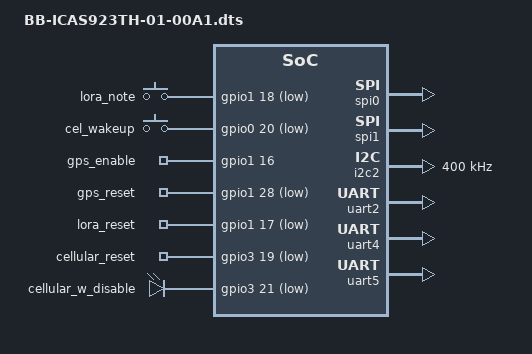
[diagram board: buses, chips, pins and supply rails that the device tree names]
/*
* Copyright (C) 2018 Anol Paisal <info@emone.co.th>
*
* This program is free software; you can redistribute it and/or modify
* it under the terms of the GNU General Public License version 2 as
* published by the Free Software Foundation.
*/

/dts-v1/;
/plugin/;

#include <dt-bindings/board/am335x-bbw-bbb-base.h>
#include <dt-bindings/gpio/gpio.h>
#include <dt-bindings/pinctrl/am33xx.h>
#include <dt-bindings/interrupt-controller/irq.h>

/ {
	compatible = "ti,beaglebone", "ti,beaglebone-black";

	/* identification */
	part-number = "BB-ICAS923TH-01";
	version = "00A1";

	/* state the resources this cape uses */
	exclusive-use =
		/* the pin header uses */
		"P8.37",	/* uart5_txd iC980A_GPS_RX pin 48*/
		"P8.38",	/* uart5_rxd iC980A_GPS_TX pin 49*/
		
		"P9.11",	/* uart4_rxd_mux2 CEL_TX pin 28*/
		"P9.13",	/* uart4_txd_mux2 CEL_RX pin 29*/
		
		"P9.24",	/* uart1_txd BBB_PI_TX*/
		"P9.26",	/* uart1_rxd BBB_PI_RX*/
		
		"P9.21",	/* spi0_d0 HOST_MISO*/
		"P9.18",	/* spi0_d1 HOST_MOSI*/
		"P9.22",	/* spi0_sclk HOST_SCK*/
		"P9.17",	/* spi0_cs0 HOST_CS$3*/
		
		"P9.29",	/* spi1_d0 SPI1_MISO*/
		"P9.30",	/* spi1_d1 SPI1_MOSI*/
		"P9.31",	/* spi1_sclk SPI1_SCK*/
        "P9.28",	/* gpio3_17 spi1_cs0 SPI1_NSS$10*/
		"P9.42",	/* gpio0_7 spi1_cs1 SPI1_NSS$5*/

		"P9.19",	/* i2c2_scl HOST_SCL*/
		"P9.20",	/* i2c2_sda HOST_SDA*/
		
		"P9.23",	/* gpio1_17 iC980A_RST$2*/
		"P9.25",	/* gpio3_21 CEL_W_DIS$9*/
		"P9.27",	/* gpio3_19 CEL_NRST$6*/
		"P9.41",	/* gpio0_20 CEL_WAKE$4*/
		"P9.12",	/* gpio1_28 GPS_RST$1*/
		"P9.14",	/* gpio1_18 LR_NOTE$7*/
		"P9.15",	/* gpio1_16 EN_GPS$ 8*/
		
		/* the hardware ip uses */
		"uart5",
		"uart4",
		"uart1",
		
		"spi0",
		"gpio0_5",	
		
		"spi1",
		"gpio0_7",
		"gpio3_17",
		
		"i2c2",
		
		"gpio1_17",	
		"gpio3_21",
		"gpio3_19",
		"gpio0_20",
		"gpio1_18",
		"gpio1_28",
		"gpio1_16";
	
	/*
	 * Helper to show loaded overlays under: /proc/device-tree/chosen/overlays/
	 */
	fragment@0 {
		target-path="/";
		__overlay__ {

			chosen {
				overlays {
					BB-ICAS923TH-01 = __TIMESTAMP__;
				};
			};
		};
	};	
	
	/*
	 * Free up the pins used by the mikrobus port from the pinmux helpers.
	 * pins are listed in clockwise order of their appearance in the
	 * mikrobus port.
	 */
	fragment@1 {
		target = <&ocp>;
		__overlay__ {			

			P8_37_pinmux { status = "disabled"; };
			P8_38_pinmux { status = "disabled"; };
			P9_13_pinmux { status = "disabled"; };
			P9_11_pinmux { status = "disabled"; };
			P9_24_pinmux { status = "disabled"; };
			P9_26_pinmux { status = "disabled"; };
			P9_21_pinmux { status = "disabled"; };
			P9_22_pinmux { status = "disabled"; };
			P9_17_pinmux { status = "disabled"; };
			P9_18_pinmux { status = "disabled"; };
			P9_28_pinmux { status = "disabled"; };
			P9_29_pinmux { status = "disabled"; };
			P9_30_pinmux { status = "disabled"; };
			P9_31_pinmux { status = "disabled"; };
			P9_42_pinmux { status = "disabled"; };
			P9_19_pinmux { status = "disabled"; };
			P9_20_pinmux { status = "disabled"; };
			P9_23_pinmux { status = "disabled"; };
			P9_25_pinmux { status = "disabled"; };
			P9_27_pinmux { status = "disabled"; };
			P9_41_pinmux { status = "disabled"; };
			P9_12_pinmux { status = "disabled"; };
			P9_14_pinmux { status = "disabled"; };
			P9_15_pinmux { status = "disabled"; };
		};
	};
	
	fragment@2 {
		target = <&am33xx_pinmux>;

		__overlay__ {
		
			/* avoid stupid warning */
        	#address-cells = <1>;
	        #size-cells = <1>;

			bb_spi0_pins: pinmux_bb_spi0_pins {
				pinctrl-single,pins = <
					BONE_P9_22 0x30 /* AM33XX_PADCONF(AM335X_PIN_SPI0_SCLK, PIN_OUTPUT, MUX_MODE0)	P9.22 spi0_sclk, INPUT_PULLUP | MODE0 */
					BONE_P9_21 0x30 /* AM33XX_PADCONF(AM335X_PIN_SPI0_D0, PIN_INPUT, MUX_MODE0)	P9.21 spi0_d0, INPUT_PULLUP | MODE0 */
					BONE_P9_18 0x10 /* AM33XX_PADCONF(AM335X_PIN_SPI0_D1, PIN_OUTPUT, MUX_MODE0)	P9.18 spi0_d1, OUTPUT_PULLUP | MODE0 */
					BONE_P9_17 0x10 /* AM33XX_PADCONF(AM335X_PIN_SPI0_CS0, PIN_OUTPUT, MUX_MODE0) P9.17 spi0_cs0, OUTPUT_PULLUP gpio0_5 | MODE0 */
				>;
			};
			
			bb_spi1_pins: pinmux_bb_spi1_pins {
				pinctrl-single,pins = <
					BONE_P9_31 0x33	/* P9.31 mcasp0_aclkx.spi1_sclk, INPUT_PULLUP | MODE3 */
					BONE_P9_29 0x33	/* P9.29 mcasp0_fsx.spi1_d0, INPUT_PULLUP | MODE3 */
					BONE_P9_30 0x13	/* P9.30 mcasp0_axr0.spi1_d1, OUTPUT_PULLUP | MODE3 */
					BONE_P9_28 0x13  /* P9.28 mcasp0_ahclkr.spi1_cs0, OUTPUT_PULLUP gpio3_17 | MODE3 */
					BONE_P9_42 0x12	/* P9.42 eCAP0_in_PWM0_out.spi1_cs1 OUTPUT_PULLUP gpio0_7 | MODE2 */
				>;
			};
			
			bb_i2c2_pins: pinmux_bb_i2c2_pins {
				pinctrl-single,pins = <
					BONE_P9_19 0x73	/* P9.19 uart1_rtsn.i2c2_scl, SLEWCTRL_SLOW | INPUT_PULLUP | MODE3 */
					BONE_P9_20 0x73	/* P9.20 uart1_ctsn.i2c2_sda, SLEWCTRL_SLOW | INPUT_PULLUP | MODE3 */
				>;
			};
			
			bb_uart1_pins: pinmux_bb_uart1_pins {
				pinctrl-single,pins = <
					BONE_P9_26 0x08 /* (PIN_INPUT_PULLUP | MUX_MODE0)	P9.26 uart1_rxd | MODE0 INPUT */
					BONE_P9_24 0x28 /* (PIN_OUTPUT_PULLDOWN | MUX_MODE0) P9.24 uart1_txd | MODE0 OUTPUT */
				>;
			};
			
			bb_uart4_pins: pinmux_bb_uart4_pins {
				pinctrl-single,pins = <
					BONE_P9_11 0x0E /* (PIN_INPUT_PULLUP | MUX_MODE6) P9.11 gpmc_wait0.uart4_rxd | MODE6 INPUT */
					BONE_P9_13 0x2E /* (PIN_OUTPUT_PULLDOWN | MUX_MODE6) P9.13 gpmc_wpn.uart4_txd | MODE6 OUTPUT */
				>;
			};
			
			bb_uart5_pins: pinmux_bb_uart5_pins {
				pinctrl-single,pins = <
					BONE_P8_38 0x0C /* (PIN_INPUT_PULLUP | MUX_MODE4) P8.38 lcd_data9.uart5_rxd | MODE4 INPUT */
					BONE_P8_37 0x2C /* (PIN_OUTPUT_PULLDOWN | MUX_MODE4) P8.37 lcd_data8.uart5_txd | MODE4 OUTPUT */
				>;
			};
			
			lgw_control_pins: pinmux_lgw_control_pins {
				pinctrl-single,pins = <
					BONE_P9_15 0x27	/* EN_GPS P9.15 gpmc_a0.gpio1_16, OUTPUT_PULLDOWN  | MODE7 gpio1_16 pin 16 */
			
					BONE_P9_12 0x37	/* GPS_NRST P9.12 gpmc_be1n.gpio1_28, OUTPUT_PULLUP | MODE7 gpio1_28 pin 30*/
				
					BONE_P9_23 0x27	/* iC980A_RST P9.23 gpmc_a1.gpio1_17, OUTPUT_PULLDOWN | MODE7 gpio1_17 pin 17 */
				
					BONE_P9_27 0x37 /* CEL_NRST P9.27 mcasp0_fsr.gpio3_19, OUTPUT_PULLUP | MODE7 gpio3_19 pin 105*/
				
					BONE_P9_25 0x37 /* CEL_W_DIS P9.25 mcasp0_ahclkx.gpio3_21, OUTPUT_PULLDOWN | MODE7 gpio3_21 pin 107*/
				>;
			};
			
			lgw_input_pins: pinmux_lgw_input_pins {
				pinctrl-single,pins = <
					BONE_P9_14 0x0F /* LR_NOTE P9.14 gpmc_a2.gpio1_18, INPUT | MODE7 gpio1_18 pin 18*/
				
					BONE_P9_41 0x17	/* CEL_WAKE P9.41 xdma_event_intr1.gpio0_20, INPUT_PULLUP | MODE7 gpio0_20 pin 109*/
				>;
			};
		};
	};

	fragment@3 {
		target = <&spi0>;	/* spi0 is numbered correctly */
		__overlay__ {
			status = "okay";
			pinctrl-names = "default";
			pinctrl-0 = <&bb_spi0_pins>;
			cs-gpios	= <&gpio0 5 0>;
			num-chipselects = <1>;
			
			#address-cells = <1>;
			#size-cells = <0>;

			/*
			 * Select the D0 pin as output and D1 as
			 * input. The default is D0 as input and
			 * D1 as output.
			 */
			//ti,pindir-d0-out-d1-in;
			
			/* add any spi devices connected here */
			/* note that you can do direct SPI via spidev now */
            channel@0 {
				#address-cells = <1>;
				#size-cells = <0>;

				compatible = "linux,spidev";
				symlink = "spi/0.0";

				reg = <0>;
				spi-max-frequency = <16000000>;
				spi-cpha;
			};

			channel@1 {
				status = "disabled";
			};
		};
	};
	
	fragment@4 {
		target = <&spi1>;	/* spi1 is numbered correctly */
		__overlay__ {
			status = "okay";
			pinctrl-names = "default";
			pinctrl-0 = <&bb_spi1_pins>;
			cs-gpios	= <&gpio3 17 0
						   &gpio0 7 0>;
			num-chipselects = <2>;
			
			#address-cells = <1>;
			#size-cells = <0>;

			/*
			 * Select the D0 pin as output and D1 as
			 * input. The default is D0 as input and
			 * D1 as output.
			 */
			//ti,pindir-d0-out-d1-in;
			
			ti,pio-mode; /* disable dma when used as an overlay, dma gets stuck at 160 bits... */
			
			/* add any spi devices connected here */
			/* note that you can do direct SPI via spidev now */
            channel@0 {
                #address-cells = <1>;
                #size-cells = <0>;
				
                compatible = "linux,spidev";
				symlink = "spi/1.0";
				
                reg = <0>;
                spi-max-frequency = <16000000>;
            };
			
			channel@1 {
				#address-cells = <1>;
				#size-cells = <0>;

				compatible = "spidev";
				symlink = "spi/1.1";

				reg = <1>;
				spi-max-frequency = <16000000>;
                spi-cpha;
			};
		};
	};
		
	fragment@5 {
		target = <&i2c2>;	/* i2c2 is numbered correctly */
		__overlay__ {
			status = "okay";
			pinctrl-names = "default";
			pinctrl-0 = <&bb_i2c2_pins>;

			/* this is the configuration part */
			clock-frequency = <400000>;	

			#address-cells = <1>;
			#size-cells = <0>;

			/* add any i2c devices on the bus here */
			

		};
	};
	
	fragment@6 {
		target = <&uart2>;	/* really uart1 */
		__overlay__ {
			status = "okay";
			pinctrl-names = "default";
			pinctrl-0 = <&bb_uart1_pins>;
		};
	};
	
	fragment@7 {
		target = <&uart4>;	/* really uart4 */
		__overlay__ {
			status = "okay";
			pinctrl-names = "default";
			pinctrl-0 = <&bb_uart4_pins>;
		};
	};
	
	fragment@8 {
		target = <&uart5>;	/* really uart5 */
		__overlay__ {
			status = "okay";
			pinctrl-names = "default";
			pinctrl-0 = <&bb_uart5_pins>;
		};
	};
	
	fragment@9 {
		target = <&ocp>;
		__overlay__ {
			/* avoid stupid warning */
			#address-cells = <1>;
			#size-cells = <1>;
			
			keys {
				status = "okay";
				pinctrl-names = "default";
				pinctrl-0 = <&lgw_input_pins>;

				compatible = "gpio-keys";

				lora_note {
					debounce_interval = <5>;
					linux,code = <18>;
					label               = "lora_note";
					gpios               = <&gpio1 18 GPIO_ACTIVE_LOW>;
					gpio-key;
					autorepeat;
				};
				
				cel_wakeup {
					debounce_interval = <5>;
					linux,code = <109>;
					label               = "cel_wakeup";
					gpios               = <&gpio0 20 GPIO_ACTIVE_LOW>;
					gpio-key,wakeup;
					autorepeat;
				};
			};
			
			leds {
				status = "okay";
				pinctrl-names = "default";
				pinctrl-0 = <&lgw_control_pins>;
			
				compatible = "gpio-leds";
				
				gps_enable {
					label = "gps_enable";
					gpios = <&gpio1 16 GPIO_ACTIVE_HIGH>;
					default-state = "keep";
				};				
				
				gps_reset {
					label = "gps_reset";
					gpios = <&gpio1 28 GPIO_ACTIVE_LOW>;
					default-state = "keep";
				};
			
				lora_reset {
					label = "lora_reset";
					gpios = <&gpio1 17 GPIO_ACTIVE_LOW>;
					default-state = "keep";
				};
				
				cel_reset {
					label = "cellular_reset";
					gpios = <&gpio3 19 GPIO_ACTIVE_LOW>;
					default-state = "keep";
				};
				
				cel_w_disable {
					label = "cellular_w_disable";
					gpios = <&gpio3 21 GPIO_ACTIVE_LOW>;
					default-state = "keep";
				};
			};
			
		};
	};
};
